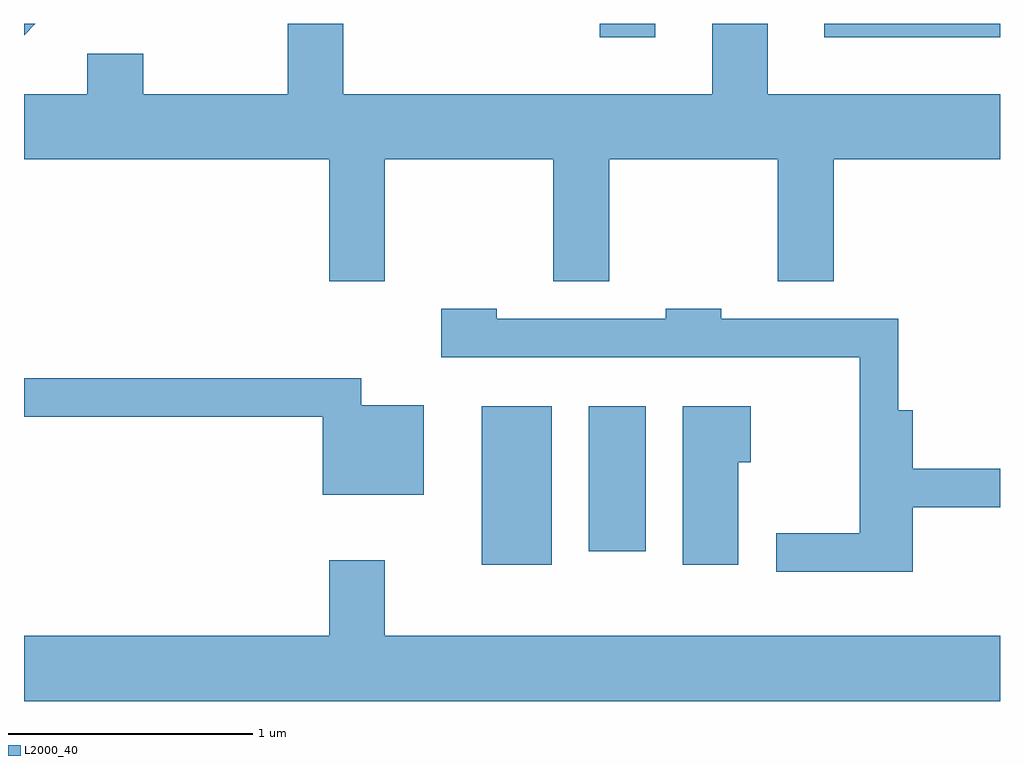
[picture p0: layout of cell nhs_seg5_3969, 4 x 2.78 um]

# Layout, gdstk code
import gdstk
lib = gdstk.Library(unit=1e-6, precision=1e-09)
def R(c, l, rs):  # rectangles x0, y0, x1, y1
    for r in rs: c.add(gdstk.rectangle(r[:2], r[2:], *l))
def P(c, l, *ps):  # polygons
    for p in ps: c.add(gdstk.Polygon(p, *l))
L2000_40 = (2000, 40)

nhs_seg5_3969 = lib.new_cell('nhs_seg5_3969')
R(nhs_seg5_3969, L2000_40, [(305.486,1401.856,305.774,1402.504), (305.926,1401.911,306.159,1402.504), (305.971,1404.016,306.199,1404.072), (306.891,1404.016,307.611,1404.072)])
P(nhs_seg5_3969, L2000_40, [(305.089,1403.516),(305.781,1403.516),(305.781,1403.016),(306.009,1403.016),(306.009,1403.516),(306.701,1403.516),(306.701,1403.016),(306.929,1403.016),(306.929,1403.516),(307.611,1403.516),(307.611,1403.784),(306.659,1403.784),(306.659,1404.072),(306.431,1404.072),(306.431,1403.784),(304.919,1403.784),(304.919,1404.072),(304.691,1404.072),(304.691,1403.784),(304.099,1403.784),(304.099,1403.949),(303.871,1403.949),(303.871,1403.784),(303.611,1403.784),(303.611,1403.516),(304.861,1403.516),(304.861,1403.016),(305.089,1403.016)],
  [(303.657,1404.072),(303.611,1404.072),(303.611,1404.025)],
  [(307.254,1402.091),(307.611,1402.091),(307.611,1402.249),(307.254,1402.249),(307.254,1402.489),(307.194,1402.489),(307.194,1402.864),(306.469,1402.864),(306.469,1402.904),(306.241,1402.904),(306.241,1402.864),(305.549,1402.864),(305.549,1402.904),(305.321,1402.904),(305.321,1402.706),(307.036,1402.706),(307.036,1401.984),(306.693,1401.984),(306.693,1401.826),(307.254,1401.826)],
  [(305.249,1402.509),(304.994,1402.509),(304.994,1402.619),(303.611,1402.619),(303.611,1402.461),(304.836,1402.461),(304.836,1402.141),(305.249,1402.141)],
  [(306.539,1402.276),(306.589,1402.276),(306.589,1402.504),(306.311,1402.504),(306.311,1401.856),(306.539,1401.856)],
  [(307.611,1401.564),(305.089,1401.564),(305.089,1401.874),(304.861,1401.874),(304.861,1401.564),(303.611,1401.564),(303.611,1401.296),(307.611,1401.296)])

lib.write_gds('nhs_seg5_3969.gds')
